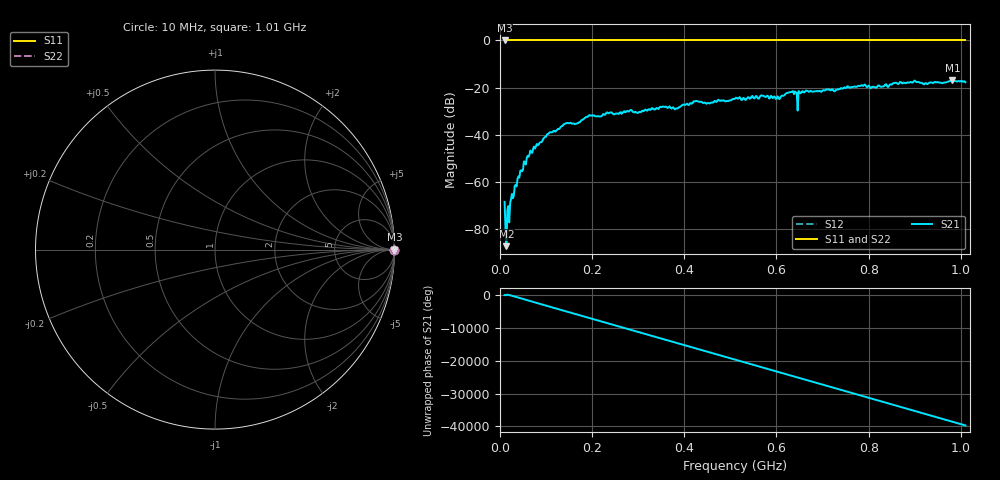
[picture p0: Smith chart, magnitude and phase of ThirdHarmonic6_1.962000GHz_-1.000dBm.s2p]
! 8/16/2025 11:36:55 PM
! C:\ANRITSUVNA\TEMP\TEMP.S2P
! CHANNEL.1
! TR.MEASUREMENT
! RAW.DATA
! RF.CORRECTION.OFF
! AVERAGING.OFF
! IF.BANDWIDTH: 5KHZ
! SWEEPTYPE:  FREQ.SWEEP(Linear)
! Reference Plane Port Info
! PORT:  PORT1  PORT2
! DISTANCE:  0  m  0  m
! TIME:  0  s  0  s
! PHASE.OFFSET:  0  deg.  0  deg.
! LOSS:  0  dB  0  dB
! REF.LOSS:  0  dB  0  dB
! REF.FREQ:  0  Hz  0  Hz
! Power Info
! POWER:  -20  dBm  -20  dBm
! EFF.POWER:  -20  dBm  -20  dBm
! SOURCE.ATTEN:  0  dB  0  dB
! TEST.ATTEN:  0  dB  0  dB
# GHZ S RI R 50.0
! FREQ.GHZ  S11RE  S11IM  S21RE  S21IM  S12RE  S12IM  S22RE  S22IM
!; PortSelection: Port_12
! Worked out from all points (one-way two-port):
!   501 points, 10 MHz to 1.01 GHz, reference 50 ohm
!   highest |S21| = -16.93 dB at 982 MHz (marker M1); lowest = -87.2 dB at 14 MHz (marker M2)
!   lowest |S11| = 0.0 dB at 10 MHz (marker M3)
!   |S11| at or under -10 dB: nowhere
!   |S22| runs from 0.0 to 0.0 dB; largest |S21 - S12| = 1.1
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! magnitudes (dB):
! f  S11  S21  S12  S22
! 10 MHz  0.0  -68.4  0.0  0.0
! 14 MHz  0.0  -87.2  0.0  0.0
! 16 MHz  0.0  -72.2  0.0  0.0
! 20 MHz  0.0  -77.1  0.0  0.0
! 42 MHz  0.0  -58.1  0.0  0.0
! 70 MHz  0.0  -47.6  0.0  0.0
! 106 MHz  0.0  -39.4  0.0  0.0
! 142 MHz  0.0  -35.2  0.0  0.0
! 178 MHz  0.0  -33.6  0.0  0.0
! 196 MHz  0.0  -31.8  0.0  0.0
! 344 MHz  0.0  -29.1  0.0  0.0
! 510 MHz  0.0  -24.6  0.0  0.0
! 602 MHz  0.0  -23.7  0.0  0.0
! 632 MHz  0.0  -21.9  0.0  0.0
! 640 MHz  0.0  -21.6  0.0  0.0
! 642 MHz  0.0  -22.0  0.0  0.0
! 650 MHz  0.0  -21.8  0.0  0.0
! 652 MHz  0.0  -22.4  0.0  0.0
! 678 MHz  0.0  -21.8  0.0  0.0
! 844 MHz  0.0  -19.3  0.0  0.0
! 982 MHz  0.0  -16.9  0.0  0.0
! 1.01 GHz  0.0  -17.7  0.0  0.0
